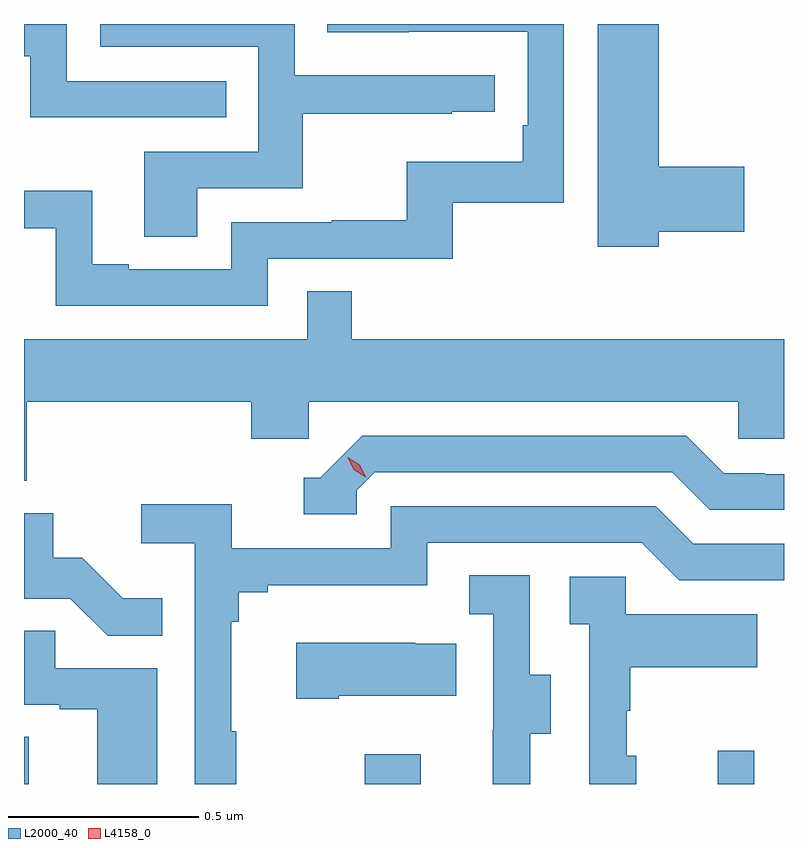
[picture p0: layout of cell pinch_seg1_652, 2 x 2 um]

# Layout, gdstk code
import gdstk
lib = gdstk.Library(unit=1e-6, precision=1e-09)
def R(c, l, rs):  # rectangles x0, y0, x1, y1
    for r in rs: c.add(gdstk.rectangle(r[:2], r[2:], *l))
def P(c, l, *ps):  # polygons
    for p in ps: c.add(gdstk.Polygon(p, *l))
L2000_40 = (2000, 40)
L4158_0 = (4158, 0)

pinch_seg1_652 = lib.new_cell('pinch_seg1_652')
R(pinch_seg1_652, L2000_40, [(1090.669,518.758,1090.681,518.882), (1091.566,518.758,1091.713,518.836), (1092.494,518.758,1092.591,518.845)])
P(pinch_seg1_652, L2000_40, [(1091.201,520.608),(1090.782,520.608),(1090.782,520.758),(1090.669,520.758),(1090.669,520.673),(1090.686,520.673),(1090.686,520.512),(1091.201,520.512)],
  [(1092.34,520.211),(1092.565,520.211),(1092.565,520.382),(1092.34,520.382),(1092.34,520.758),(1092.179,520.758),(1092.179,520.172),(1092.34,520.172)],
  [(1091.125,520.326),(1091.402,520.326),(1091.402,520.522),(1091.795,520.522),(1091.795,520.527),(1091.908,520.527),(1091.908,520.623),(1091.382,520.623),(1091.382,520.758),(1090.87,520.758),(1090.87,520.698),(1091.286,520.698),(1091.286,520.422),(1090.985,520.422),(1090.985,520.198),(1091.125,520.198)],
  [(1091.31,520.14),(1091.797,520.14),(1091.797,520.287),(1092.09,520.287),(1092.09,520.758),(1091.467,520.758),(1091.467,520.736),(1091.681,520.736),(1091.681,520.737),(1091.994,520.737),(1091.994,520.492),(1091.981,520.492),(1091.981,520.396),(1091.676,520.396),(1091.676,520.241),(1091.479,520.241),(1091.479,520.236),(1091.214,520.236),(1091.214,520.113),(1090.945,520.113),(1090.945,520.126),(1090.849,520.126),(1090.849,520.319),(1090.669,520.319),(1090.669,520.221),(1090.752,520.221),(1090.752,520.017),(1091.31,520.017)],
  [(1090.676,519.764),(1091.267,519.764),(1091.267,519.666),(1091.418,519.666),(1091.418,519.764),(1092.549,519.764),(1092.549,519.666),(1092.669,519.666),(1092.669,519.928),(1091.531,519.928),(1091.531,520.055),(1091.415,520.055),(1091.415,519.928),(1090.669,519.928),(1090.669,519.556),(1090.676,519.556)],
  [(1091.544,519.531),(1091.592,519.579),(1092.375,519.579),(1092.474,519.48),(1092.669,519.48),(1092.669,519.573),(1092.618,519.573),(1092.618,519.576),(1092.511,519.576),(1092.412,519.675),(1091.559,519.675),(1091.448,519.564),(1091.405,519.564),(1091.405,519.468),(1091.544,519.468)],
  [(1091.227,518.897),(1091.215,518.897),(1091.215,519.185),(1091.234,519.185),(1091.234,519.262),(1091.311,519.262),(1091.311,519.281),(1091.73,519.281),(1091.73,519.393),(1092.294,519.393),(1092.393,519.294),(1092.669,519.294),(1092.669,519.39),(1092.43,519.39),(1092.331,519.489),(1091.634,519.489),(1091.634,519.378),(1091.216,519.378),(1091.216,519.494),(1090.977,519.494),(1090.977,519.392),(1091.118,519.392),(1091.118,518.758),(1091.227,518.758)],
  [(1091.033,519.247),(1090.929,519.247),(1090.822,519.354),(1090.746,519.354),(1090.746,519.471),(1090.669,519.471),(1090.669,519.246),(1090.791,519.246),(1090.889,519.148),(1091.033,519.148)],
  [(1092.001,518.89),(1092.055,518.89),(1092.055,519.045),(1092,519.045),(1092,519.308),(1091.841,519.308),(1091.841,519.205),(1091.904,519.205),(1091.904,518.901),(1091.903,518.901),(1091.903,518.758),(1092.001,518.758)],
  [(1092.28,518.832),(1092.255,518.832),(1092.255,518.951),(1092.265,518.951),(1092.265,519.065),(1092.599,519.065),(1092.599,519.205),(1092.252,519.205),(1092.252,519.303),(1092.105,519.303),(1092.105,519.179),(1092.156,519.179),(1092.156,518.758),(1092.28,518.758)],
  [(1091.02,519.063),(1090.751,519.063),(1090.751,519.161),(1090.669,519.161),(1090.669,518.967),(1090.763,518.967),(1090.763,518.955),(1090.862,518.955),(1090.862,518.758),(1091.02,518.758)],
  [(1091.497,518.99),(1091.807,518.99),(1091.807,519.127),(1091.699,519.127),(1091.699,519.13),(1091.385,519.13),(1091.385,518.983),(1091.497,518.983)])
P(pinch_seg1_652, L4158_0, [(1091.568,519.565),(1091.537,519.585),(1091.521,519.617),(1091.521,519.618),(1091.521,519.618),(1091.552,519.598),(1091.568,519.566),(1091.568,519.565)])

lib.write_gds('pinch_seg1_652.gds')
